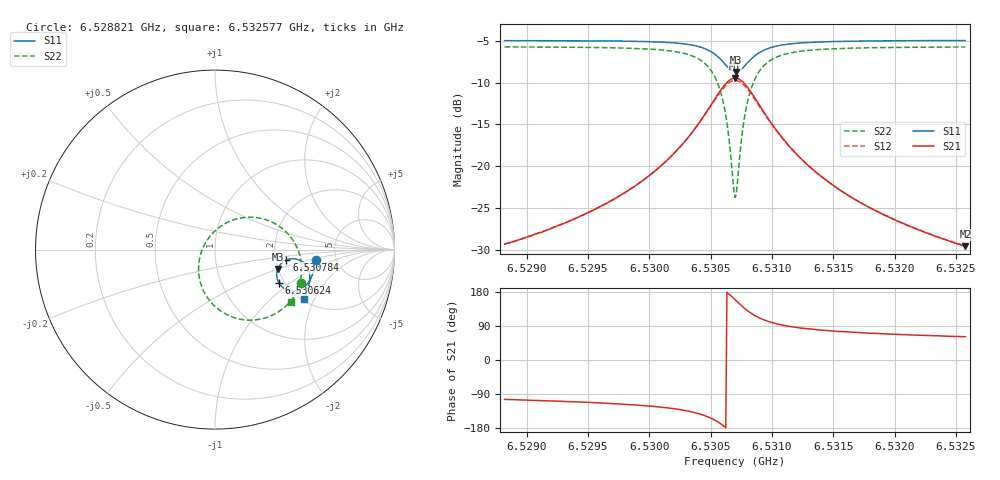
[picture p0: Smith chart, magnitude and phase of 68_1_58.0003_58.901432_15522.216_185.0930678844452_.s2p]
#  HZ  S  RI  R  50.00
! Rohde & Schwarz Vector Network Analyzer
! Rohde-Schwarz,ZNB20-2Port,1311601062101988,3.16
! Created: UTC 3/21/2024, 12:53:16 AM
! freq[Hz]  re:S11  im:S11  re:S21  im:S21  re:S12  im:S12  re:S22  im:S22
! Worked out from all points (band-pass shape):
!   401 points, 6.528821 GHz to 6.532577 GHz, reference 50 ohm
!   highest |S21| = -9.46 dB at 6.530699 GHz (marker M1); lowest = -29.6 dB at 6.532577 GHz (marker M2)
!   |S21| within 3 dB of the highest: 6.530512 GHz to 6.530888 GHz (376.2 kHz wide, 0.00576 % of centre)
!   lowest |S11| = -8.7 dB at 6.530709 GHz (marker M3), VSWR 2.16, Z = 99.6 - j24.9 ohm
!   |S11| at or under -10 dB: nowhere
!   |S22| runs from -23.7 to -5.7 dB; largest |S21 - S12| = 0.014
!   S11 on the Smith chart (normalised r, x): 6.528821 GHz: 3.48, -0.59; 6.530624 GHz: 1.87, -0.84; 6.530784 GHz: 2.29, -0.32; 6.532577 GHz: 2.04, -1.66
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6.5288208e9  0.5608 -0.0574  -0.00823 -0.0332  -0.00896 -0.0329  0.4813 -0.1881
6.5294501e9  0.5513 -0.1117  -0.0183 -0.0473  -0.0195 -0.047  0.4491 -0.2502
6.5298069e9  0.5401 -0.1468  -0.0316 -0.0623  -0.0334 -0.0615  0.4138 -0.2958
6.5300793e9  0.5236 -0.1787  -0.0547 -0.0815  -0.057 -0.0799  0.3619 -0.3411
6.5303047e9  0.4939 -0.2108  -0.1007 -0.1042  -0.104 -0.1006  0.2689 -0.3839
6.5304643e9  0.4452 -0.2301  -0.1787 -0.1105  -0.1812 -0.1026  0.1263 -0.3847
6.5305582e9  0.3948 -0.2214  -0.2572 -0.0776  -0.2555 -0.0659  -0.00377 -0.3128
6.530624e9  0.3573 -0.1874  -0.3116 -0.00741  -0.3038 0.00374  -0.0809 -0.1843
6.5306522e9  0.3471 -0.1637  -0.3238 0.0369  -0.3132 0.0464  -0.0916 -0.1082
6.5306803e9  0.344 -0.1363  -0.3231 0.0865  -0.3107 0.0928  -0.0806 -0.0271
6.5306991e9  0.3468 -0.1175  -0.3145 0.1195  -0.3015 0.1235  -0.06 0.0251
6.5307085e9  0.3497 -0.1084  -0.3077 0.1353  -0.2949 0.1381  -0.0458 0.0494
6.5307179e9  0.3534 -0.0997  -0.2994 0.1503  -0.2867 0.152  -0.0296 0.0723
6.5307555e9  0.3765 -0.0713  -0.2549 0.1983  -0.2441 0.1963  0.0526 0.1427
6.5307836e9  0.3982 -0.0581  -0.2153 0.2199  -0.2066 0.2164  0.1219 0.1712
6.5308494e9  0.4469 -0.0519  -0.1296 0.2299  -0.1251 0.2259  0.2668 0.1716
6.5309433e9  0.4921 -0.0721  -0.0526 0.1993  -0.0509 0.1969  0.3918 0.1027
6.5310842e9  0.5195 -0.1096  -0.00564 0.148  -0.00445 0.1471  0.4626 -0.00158
6.5313283e9  0.5286 -0.1561  0.0151 0.0951  0.0162 0.0947  0.4829 -0.1115
6.5316289e9  0.5243 -0.1946  0.0185 0.0639  0.0196 0.0636  0.4735 -0.1838
6.5319576e9  0.5149 -0.2266  0.0181 0.046  0.019 0.0458  0.4572 -0.2327
6.5325774e9  0.4932 -0.2762  0.0159 0.0292  0.0164 0.0289  0.4251 -0.2934
